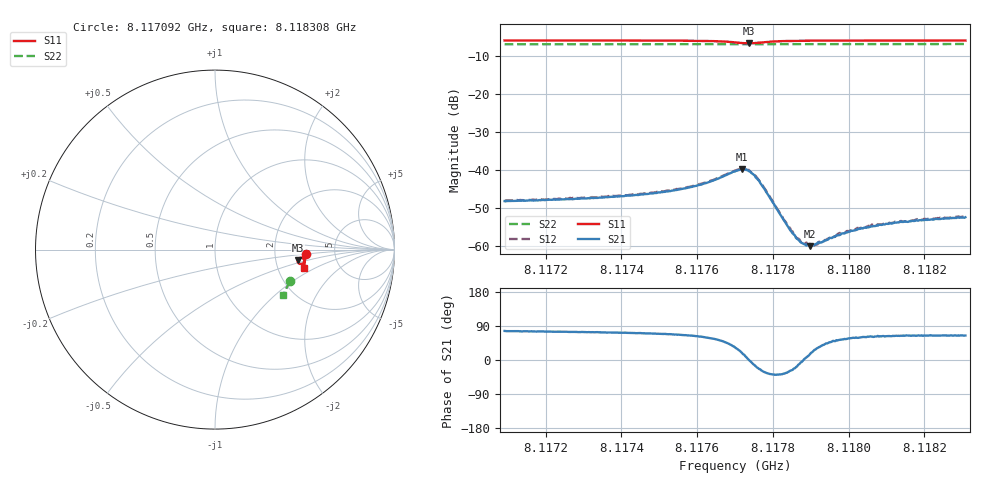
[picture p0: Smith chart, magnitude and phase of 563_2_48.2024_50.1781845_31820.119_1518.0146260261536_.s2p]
#  HZ  S  RI  R  50.00
! Rohde & Schwarz Vector Network Analyzer
! Rohde-Schwarz,ZNB20-2Port,1311601062101988,3.16
! Created: UTC 3/20/2024, 12:01:16 PM
! freq[Hz]  re:S11  im:S11  re:S21  im:S21  re:S12  im:S12  re:S22  im:S22
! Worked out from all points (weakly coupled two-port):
!   401 points, 8.117092 GHz to 8.118308 GHz, reference 50 ohm
!   highest |S21| = -39.74 dB at 8.117718 GHz (marker M1); lowest = -60.0 dB at 8.117898 GHz (marker M2)
!   lowest |S11| = -6.7 dB at 8.117737 GHz (marker M3), VSWR 2.73, Z = 133 - j20.2 ohm
!   |S11| at or under -10 dB: nowhere
!   |S22| runs from -6.9 to -6.8 dB; largest |S21 - S12| = 0.0004
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8.1170919e9  0.5064 -0.0223  0.000901 0.00379  0.000975 0.00389  0.4165 -0.1746
8.1172957e9  0.5048 -0.0389  0.00117 0.00408  0.00125 0.00415  0.4114 -0.1879
8.1174143e9  0.5034 -0.0493  0.00145 0.00438  0.00153 0.00442  0.408 -0.1955
8.1174995e9  0.5015 -0.0576  0.00182 0.00475  0.00182 0.00479  0.4056 -0.201
8.1175542e9  0.4994 -0.0637  0.00221 0.00511  0.00228 0.0052  0.4039 -0.2047
8.1176089e9  0.4957 -0.0707  0.00302 0.00565  0.00315 0.00576  0.402 -0.2082
8.1177002e9  0.4718 -0.0795  0.00801 0.00527  0.00823 0.00537  0.3984 -0.2138
8.1177184e9  0.463 -0.0727  0.00975 0.00334  0.00976 0.00338  0.3975 -0.2144
8.1177367e9  0.4602 -0.0596  0.00967 7.31e-05  0.0101 2.09e-05  0.3971 -0.2149
8.1177519e9  0.4657 -0.0495  0.00829 -0.00202  0.00833 -0.00208  0.397 -0.2154
8.1177641e9  0.4725 -0.0455  0.00659 -0.00291  0.00662 -0.00297  0.3969 -0.2159
8.1178401e9  0.496 -0.0563  0.00153 -0.000953  0.00155 -0.000994  0.3956 -0.2213
8.1178614e9  0.4976 -0.0602  0.00121 -0.00041  0.00124 -0.000422  0.3948 -0.2227
8.1178796e9  0.4984 -0.0631  0.00108 -3.05e-05  0.0011 -6.89e-05  0.3944 -0.2239
8.1178979e9  0.4988 -0.0658  0.000963 0.000258  0.00104 0.000275  0.3939 -0.2252
8.117904e9  0.499 -0.0666  0.000949 0.000359  0.001 0.000378  0.3936 -0.2255
8.1179131e9  0.4991 -0.0679  0.00094 0.000501  0.000944 0.000488  0.3934 -0.2262
8.1179739e9  0.4992 -0.0751  0.000844 0.00111  0.000881 0.00118  0.3914 -0.2302
8.1180256e9  0.4988 -0.0804  0.000878 0.00143  0.000906 0.00147  0.3896 -0.2334
8.1181078e9  0.498 -0.0878  0.000893 0.00177  0.00088 0.00183  0.3869 -0.2384
8.1181838e9  0.4969 -0.0945  0.000917 0.00195  0.000977 0.00197  0.3842 -0.2431
8.1183085e9  0.4949 -0.1043  0.00103 0.00216  0.00107 0.00217  0.3797 -0.2506
